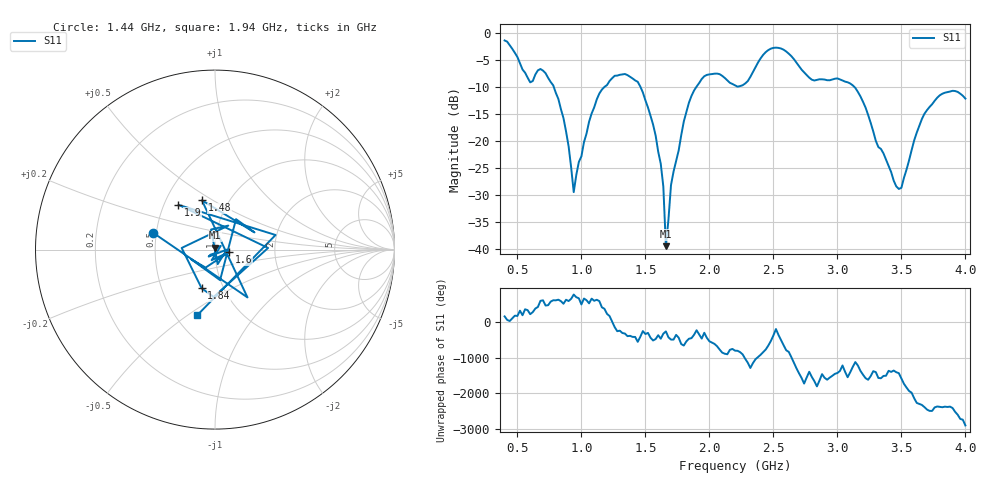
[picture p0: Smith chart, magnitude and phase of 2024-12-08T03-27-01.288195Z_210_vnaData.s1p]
!Created with skrf (http://scikit-rf.org).
# Hz S RI R 50.0
!freq ReS11 ImS11
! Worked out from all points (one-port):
!   181 points, 400 MHz to 4 GHz, reference 50 ohm
!   lowest |S11| = -39.4 dB at 1.66 GHz (marker M1), VSWR 1.02, Z = 49.9 + j1.06 ohm
!   |S11| at or under -10 dB: 785.4 MHz to 1.176 GHz (391 MHz wide, 39.9 % of centre); 1.463 GHz to 1.896 GHz (432.9 MHz wide, 25.8 % of centre); 3.136 GHz to end of sweep
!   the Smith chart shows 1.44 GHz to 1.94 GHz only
!   S11 on the Smith chart (normalised r, x): 1.44 GHz: 0.48, +0.10; 1.48 GHz: 0.75, +0.45; 1.6 GHz: 1.17, -0.03; 1.84 GHz: 0.79, -0.36; 1.9 GHz: 0.59, +0.33; 1.94 GHz: 0.64, -0.55
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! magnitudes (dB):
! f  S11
! 400 MHz  -1.3
! 600 MHz  -9.1
! 720 MHz  -7.4
! 860 MHz  -15.7
! 940 MHz  -29.4
! 1.12 GHz  -12.2
! 1.3 GHz  -7.7
! 1.44 GHz  -9.0
! 1.48 GHz  -10.9
! 1.6 GHz  -21.9
! 1.64 GHz  -28.4
! 1.66 GHz  -39.4
! 1.7 GHz  -28.1
! 1.76 GHz  -21.7
! 1.84 GHz  -12.8
! 1.9 GHz  -9.8
! 1.94 GHz  -8.4
! 2.2 GHz  -9.6
! 2.48 GHz  -2.8
! 2.66 GHz  -4.8
! 2.8 GHz  -8.6
! 3.1 GHz  -9.3
! 3.46 GHz  -28.4
! 3.5 GHz  -28.6
! 3.56 GHz  -23.5
! 3.66 GHz  -15.9
! 3.78 GHz  -11.9
! 4 GHz  -12.1
